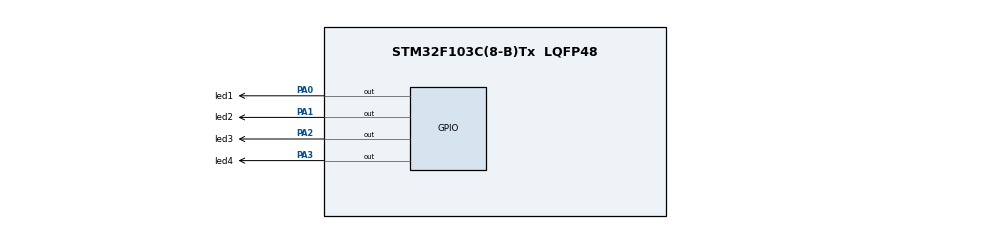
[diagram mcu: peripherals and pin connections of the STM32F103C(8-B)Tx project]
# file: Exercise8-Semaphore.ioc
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FREERTOS.Tasks01=defaultTask,0,128,StartDefaultTask,Default,NULL,Dynamic,NULL,NULL;Green_Led_Flash,-3,128,GreenTask,Default,NULL,Dynamic,NULL,NULL;Red_Led_Flash,-3,128,RedTask,Default,NULL,Dynamic,NULL,NULL;Orange_Led_Flas,-3,128,OrangeTask,Default,NULL,Dynamic,NULL,NULL
Mcu.Family=STM32F1
Mcu.Name=STM32F103C(8-B)Tx
Mcu.Package=LQFP48
NVIC.PriorityGroup=NVIC_PRIORITYGROUP_4
PA0-WKUP.GPIO_Label=led1
PA0-WKUP.Signal=GPIO_Output
PA1.GPIO_Label=led2
PA1.Signal=GPIO_Output
PA13.Mode=Serial_Wire
PA13.Signal=SYS_JTMS-SWDIO
PA14.Mode=Serial_Wire
PA14.Signal=SYS_JTCK-SWCLK
PA2.GPIO_Label=led3
PA2.Signal=GPIO_Output
PA3.GPIO_Label=led4
PA3.Signal=GPIO_Output
ProjectManager.HeapSize=0x200
ProjectManager.StackSize=0x400
ProjectManager.TargetToolchain=STM32CubeIDE
RCC.APB1Freq_Value=8000000
RCC.APB2Freq_Value=8000000
VP_FREERTOS_VS_CMSIS_V1.Mode=CMSIS_V1
VP_TIM4_VS_ClockSourceINT.Mode=Internal
board=custom

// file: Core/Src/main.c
/* USER CODE BEGIN Header */
/**
  ******************************************************************************
  * @file           : main.c
  * @brief          : Main program body
  ******************************************************************************
  * @attention
  *
  * Copyright (c) 2024 STMicroelectronics.
  * All rights reserved.
  *
  * This software is licensed under terms that can be found in the LICENSE file
  * in the root directory of this software component.
  * If no LICENSE file comes with this software, it is provided AS-IS.
  *
  ******************************************************************************
  */
/* USER CODE END Header */
#include "main.h"
#include "cmsis_os.h"

/* USER CODE BEGIN PD */
#define HIGH GPIO_PIN_RESET
#define LOW GPIO_PIN_SET
/* USER CODE END PD */

TIM_HandleTypeDef htim4;

osThreadId defaultTaskHandle;
osThreadId Green_Led_FlashHandle;
osThreadId Red_Led_FlashHandle;
osThreadId Orange_Led_FlasHandle;
/* USER CODE BEGIN PV */
/* USER CODE BEGIN PV */
uint8_t StartFlag;
volatile uint8_t RedFlag;
volatile uint8_t GreenFlag;
uint16_t WaitTimeMilliseconds = 550;

osSemaphoreDef(CriticalResourceSemaphore);
osSemaphoreId CriticalResourceSemaphoreHandle;
/* USER CODE END PV */

/* USER CODE END PV */

void SystemClock_Config(void);
static void MX_GPIO_Init(void);
static void MX_TIM4_Init(void);
void StartDefaultTask(void const * argument);
void GreenTask(void const * argument);
void RedTask(void const * argument);
void OrangeTask(void const * argument);

int main(void)
{

  /* USER CODE BEGIN 1 */
	StartFlag = 1;
	GreenFlag = 1;
	RedFlag = 1;
  /* USER CODE END 1 */

  /* MCU Configuration--------------------------------------------------------*/

  /* Reset of all peripherals, Initializes the Flash interface and the Systick. */
  HAL_Init();

  /* Configure the system clock */
  SystemClock_Config();

  /* Initialize all configured peripherals */
  MX_GPIO_Init();
  MX_TIM4_Init();
  /* USER CODE BEGIN 2 */
  HAL_GPIO_WritePin(led3_GPIO_Port, led3_Pin, HIGH);
  /* USER CODE END 2 */

  /* USER CODE BEGIN RTOS_SEMAPHORES */
  // Inisialisasi semaphore menggunakan osSemaphoreNew (CMSIS-RTOS2)
  CriticalResourceSemaphoreHandle = osSemaphoreCreate(osSemaphore(CriticalResourceSemaphore), 1);
  if (CriticalResourceSemaphoreHandle == NULL) {
      Error_Handler(); // Handle semaphore creation error
  }

  /* USER CODE END RTOS_SEMAPHORES */

  /* Create the thread(s) */
  /* definition and creation of defaultTask */
  osThreadDef(defaultTask, StartDefaultTask, osPriorityNormal, 0, 128);
  defaultTaskHandle = osThreadCreate(osThread(defaultTask), NULL);

  /* definition and creation of Green_Led_Flash */
  osThreadDef(Green_Led_Flash, GreenTask, osPriorityIdle, 0, 128);
  Green_Led_FlashHandle = osThreadCreate(osThread(Green_Led_Flash), NULL);

  /* definition and creation of Red_Led_Flash */
  osThreadDef(Red_Led_Flash, RedTask, osPriorityIdle, 0, 128);
  Red_Led_FlashHandle = osThreadCreate(osThread(Red_Led_Flash), NULL);

  /* definition and creation of Orange_Led_Flas */
  osThreadDef(Orange_Led_Flas, OrangeTask, osPriorityIdle, 0, 128);
  Orange_Led_FlasHandle = osThreadCreate(osThread(Orange_Led_Flas), NULL);

  /* Start scheduler */
  osKernelStart();

  /* We should never get here as control is now taken by the scheduler */

  /* Infinite loop */
  while (1)
  {

  }
}

void SystemClock_Config(void)
{
  RCC_OscInitTypeDef RCC_OscInitStruct = {0};
  RCC_ClkInitTypeDef RCC_ClkInitStruct = {0};

  /** Initializes the RCC Oscillators according to the specified parameters
  * in the RCC_OscInitTypeDef structure.
  */
  RCC_OscInitStruct.OscillatorType = RCC_OSCILLATORTYPE_HSI;
  RCC_OscInitStruct.HSIState = RCC_HSI_ON;
  RCC_OscInitStruct.HSICalibrationValue = RCC_HSICALIBRATION_DEFAULT;
  RCC_OscInitStruct.PLL.PLLState = RCC_PLL_NONE;
  if (HAL_RCC_OscConfig(&RCC_OscInitStruct) != HAL_OK)
  {
    Error_Handler();
  }

  /** Initializes the CPU, AHB and APB buses clocks
  */
  RCC_ClkInitStruct.ClockType = RCC_CLOCKTYPE_HCLK|RCC_CLOCKTYPE_SYSCLK
                              |RCC_CLOCKTYPE_PCLK1|RCC_CLOCKTYPE_PCLK2;
  RCC_ClkInitStruct.SYSCLKSource = RCC_SYSCLKSOURCE_HSI;
  RCC_ClkInitStruct.AHBCLKDivider = RCC_SYSCLK_DIV1;
  RCC_ClkInitStruct.APB1CLKDivider = RCC_HCLK_DIV1;
  RCC_ClkInitStruct.APB2CLKDivider = RCC_HCLK_DIV1;

  if (HAL_RCC_ClockConfig(&RCC_ClkInitStruct, FLASH_LATENCY_0) != HAL_OK)
  {
    Error_Handler();
  }
}

static void MX_TIM4_Init(void)
{

  TIM_ClockConfigTypeDef sClockSourceConfig = {0};
  TIM_MasterConfigTypeDef sMasterConfig = {0};

  htim4.Instance = TIM4;
  htim4.Init.Prescaler = 0;
  htim4.Init.CounterMode = TIM_COUNTERMODE_UP;
  htim4.Init.Period = 65535;
  htim4.Init.ClockDivision = TIM_CLOCKDIVISION_DIV1;
  htim4.Init.AutoReloadPreload = TIM_AUTORELOAD_PRELOAD_DISABLE;
  if (HAL_TIM_Base_Init(&htim4) != HAL_OK)
  {
    Error_Handler();
  }
  sClockSourceConfig.ClockSource = TIM_CLOCKSOURCE_INTERNAL;
  if (HAL_TIM_ConfigClockSource(&htim4, &sClockSourceConfig) != HAL_OK)
  {
    Error_Handler();
  }
  sMasterConfig.MasterOutputTrigger = TIM_TRGO_RESET;
  sMasterConfig.MasterSlaveMode = TIM_MASTERSLAVEMODE_DISABLE;
  if (HAL_TIMEx_MasterConfigSynchronization(&htim4, &sMasterConfig) != HAL_OK)
  {
    Error_Handler();
  }

}

static void MX_GPIO_Init(void)
{
  GPIO_InitTypeDef GPIO_InitStruct = {0};

  /* GPIO Ports Clock Enable */
  __HAL_RCC_GPIOA_CLK_ENABLE();

  /*Configure GPIO pin Output Level */
  HAL_GPIO_WritePin(GPIOA, led1_Pin|led2_Pin|led3_Pin|led4_Pin, GPIO_PIN_RESET);

  /*Configure GPIO pins : led1_Pin led2_Pin led3_Pin led4_Pin */
  GPIO_InitStruct.Pin = led1_Pin|led2_Pin|led3_Pin|led4_Pin;
  GPIO_InitStruct.Mode = GPIO_MODE_OUTPUT_PP;
  GPIO_InitStruct.Pull = GPIO_NOPULL;
  GPIO_InitStruct.Speed = GPIO_SPEED_FREQ_LOW;
  HAL_GPIO_Init(GPIOA, &GPIO_InitStruct);

}

/* USER CODE BEGIN 4 */
void AccessSharedData(void) {
	//osSemaphoreAcquire(CriticalResourceSemaphoreHandle, osWaitForever);
    if (StartFlag == 1) {
        // Set Start flag to Down to indicate resource is in use
        StartFlag = 0;
    } else {
        // Resource contention: Turn on Blue LED
        HAL_GPIO_WritePin(led3_GPIO_Port, led3_Pin, HIGH);
    }
    // Simulate read/write operations with a delay of 500 milliseconds
  //    SimulateReadWriteOperation();
      HAL_Delay(500);

      // Set Start flag back to Up to indicate resource is free
      StartFlag = 1;

      // Turn off Blue LED (if it was turned on during contention)
      HAL_GPIO_WritePin(led3_GPIO_Port, led3_Pin, LOW);

      //osSemaphoreRelease(CriticalResourceSemaphoreHandle);
  }

  void SimulateReadWriteOperation(void) {
      volatile uint32_t delay_count = 0;
      const uint32_t delay_target = 2000000; // Adjust this value to approximate 500 ms

      // Dummy loop to simulate processing time
      for (delay_count = 0; delay_count < delay_target; delay_count++) {
          __asm("nop"); // No Operation: Keeps the processor busy without changing code behavior
      }
  }
/* USER CODE END 4 */

void StartDefaultTask(void const * argument)
{
  for(;;)
  {
    osDelay(1);
  }
}

void GreenTask(void const * argument)
{
  /* USER CODE BEGIN GreenTask */
  /* Infinite loop */
  for(;;)
  {
	  GreenFlag = 1;
	        HAL_GPIO_WritePin(led1_GPIO_Port, led1_Pin, HIGH);

	        // Masuk critical section
	        osSemaphoreWait(CriticalResourceSemaphoreHandle, osWaitForever);
	        AccessSharedData(); // Fungsi yang menggunakan resource bersama
	        osSemaphoreRelease(CriticalResourceSemaphoreHandle);

	        HAL_GPIO_WritePin(led1_GPIO_Port, led1_Pin, LOW);
	        GreenFlag = 0;

	        osDelay(400); // Delay untuk simulasi
	    }

  /* USER CODE END GreenTask */
}

void RedTask(void const * argument)
{
  /* USER CODE BEGIN RedTask */
  /* Infinite loop */
  for(;;)
  {
	  RedFlag = 1;
	        HAL_GPIO_WritePin(led2_GPIO_Port, led2_Pin, HIGH);

	        // Masuk critical section
	        osSemaphoreWait(CriticalResourceSemaphoreHandle, osWaitForever);
	        AccessSharedData(); // Fungsi yang menggunakan resource bersama
	        osSemaphoreRelease(CriticalResourceSemaphoreHandle);

	        HAL_GPIO_WritePin(led2_GPIO_Port, led2_Pin, LOW);
	        RedFlag = 0;

	        osDelay(450); // Delay untuk simulasi
	    }
  /* USER CODE END RedTask */
}

void OrangeTask(void const * argument)
{
  /* USER CODE BEGIN OrangeTask */
  /* Infinite loop */
  for(;;)
  {
	  HAL_GPIO_TogglePin(led4_GPIO_Port, led4_Pin);
	  osDelay(50);
  }
  /* USER CODE END OrangeTask */
}

void HAL_TIM_PeriodElapsedCallback(TIM_HandleTypeDef *htim)
{
  if (htim->Instance == TIM4) {
    HAL_IncTick();
  }
}

void Error_Handler(void)
{
  __disable_irq();
  while (1)
  {
  }
}
